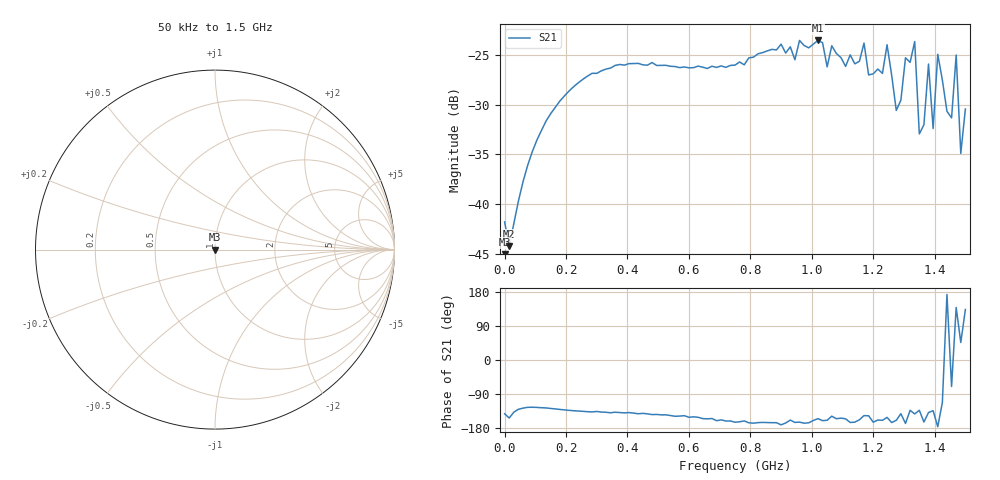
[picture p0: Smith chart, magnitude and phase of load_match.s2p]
! Created with skrf 1.8.0 (http://scikit-rf.org).
# Hz S RI R 50.0
!freq ReS11 ImS11 ReS21 ImS21 ReS12 ImS12 ReS22 ImS22
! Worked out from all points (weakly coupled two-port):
!   101 points, 50 kHz to 1.5 GHz, reference 50 ohm
!   highest |S21| = -23.54 dB at 1.02 GHz (marker M1); lowest = -44.2 dB at 15.05 MHz (marker M2)
!   lowest |S11| = - dB at 50 kHz (marker M3), VSWR 1.00, Z = 50 + j0 ohm
!   |S11| at or under -10 dB: start of sweep to end of sweep
!   S12 and S22 are empty: the file has one direction only
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50000  0 0  -0.00641 -0.00501  0 0  0 0
1.50495e7  0 0  -0.00548 -0.00278  0 0  0 0
1.050465e8  0 0  -0.0121 -0.0172  0 0  0 0
2.550415e8  0 0  -0.0303 -0.0298  0 0  0 0
5.10033e8  0 0  -0.0407 -0.0288  0 0  0 0
7.50025e8  0 0  -0.0481 -0.0136  0 0  0 0
1.005016e9  0 0  -0.0598 -0.0222  0 0  0 0
1.020016e9  0 0  -0.0602 -0.0284  0 0  0 0
1.170011e9  0 0  -0.054 -0.0354  0 0  0 0
1.18501e9  0 0  -0.0375 -0.0242  0 0  0 0
1.245008e9  0 0  -0.0556 -0.0303  0 0  0 0
1.260008e9  0 0  -0.043 -0.0115  0 0  0 0
1.275008e9  0 0  -0.0277 -0.0105  0 0  0 0
1.335006e9  0 0  -0.052 -0.0402  0 0  0 0
1.350005e9  0 0  -0.0153 -0.0166  0 0  0 0
1.380004e9  0 0  -0.038 -0.0335  0 0  0 0
1.395004e9  0 0  -0.0166 -0.0173  0 0  0 0
1.410003e9  0 0  -0.0566 -0.00383  0 0  0 0
1.455002e9  0 0  0.00936 -0.0255  0 0  0 0
1.470001e9  0 0  -0.0422 0.0372  0 0  0 0
1.485e9  0 0  0.0124 0.013  0 0  0 0
1.5e9  0 0  -0.0206 0.022  0 0  0 0
